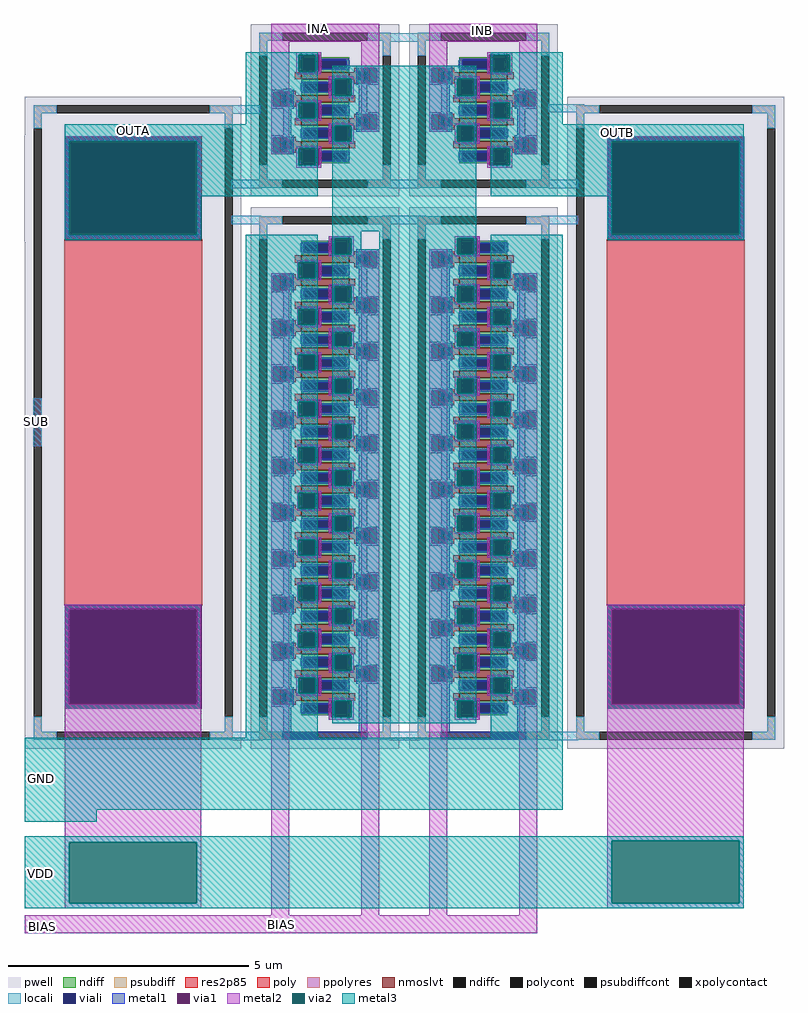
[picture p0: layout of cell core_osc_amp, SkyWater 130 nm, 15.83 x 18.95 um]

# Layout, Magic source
magic
tech sky130A
magscale 1 2
<< pwell >>
rect 4320 3755 4385 3760
rect 2396 3114 2534 3552
rect 4195 1515 4300 1600
rect 4405 1400 4510 1410
rect 4205 1315 4295 1400
rect 4180 1120 4190 1210
<< locali >>
rect 3915 3945 4040 3980
rect 3265 3645 3380 3680
rect 4580 3650 4730 3685
rect 3260 3335 3385 3370
rect 3920 3335 4045 3370
rect 4580 3335 4705 3370
rect 3260 3185 3385 3220
rect 3890 3185 4070 3220
rect 4550 3185 4705 3220
rect 2435 2260 2470 2460
rect 3265 1035 3390 1070
rect 3920 1035 4045 1070
rect 4580 1035 4705 1070
<< metal1 >>
rect 3550 3890 3635 3900
rect 3550 3820 3560 3890
rect 3625 3820 3635 3890
rect 4325 3890 4410 3900
rect 3640 3868 3750 3874
rect 3738 3834 3750 3868
rect 3640 3828 3750 3834
rect 3780 3835 3875 3845
rect 3550 3810 3635 3820
rect 3665 3790 3750 3800
rect 3665 3778 3675 3790
rect 3550 3772 3675 3778
rect 3425 3735 3520 3745
rect 3425 3675 3435 3735
rect 3490 3675 3520 3735
rect 3550 3738 3562 3772
rect 3665 3738 3675 3772
rect 3550 3732 3675 3738
rect 3665 3720 3675 3732
rect 3740 3720 3750 3790
rect 3780 3775 3810 3835
rect 3865 3775 3875 3835
rect 3780 3765 3875 3775
rect 4085 3835 4180 3845
rect 4085 3775 4095 3835
rect 4150 3775 4180 3835
rect 4325 3820 4335 3890
rect 4400 3820 4410 3890
rect 4325 3810 4410 3820
rect 4085 3765 4180 3775
rect 4210 3790 4295 3800
rect 3665 3710 3750 3720
rect 4210 3720 4220 3790
rect 4285 3720 4295 3790
rect 4210 3710 4295 3720
rect 4440 3735 4535 3745
rect 3425 3665 3520 3675
rect 3550 3690 3635 3700
rect 3550 3625 3560 3690
rect 3625 3682 3635 3690
rect 4325 3690 4410 3700
rect 3625 3676 3750 3682
rect 3625 3642 3635 3676
rect 3738 3642 3750 3676
rect 3625 3636 3750 3642
rect 3780 3640 3875 3650
rect 3625 3625 3635 3636
rect 3550 3615 3635 3625
rect 3665 3595 3750 3605
rect 3665 3586 3675 3595
rect 3550 3580 3675 3586
rect 3425 3545 3520 3555
rect 3425 3485 3435 3545
rect 3490 3485 3520 3545
rect 3550 3546 3562 3580
rect 3665 3546 3675 3580
rect 3550 3540 3675 3546
rect 3665 3530 3675 3540
rect 3740 3530 3750 3595
rect 3780 3580 3810 3640
rect 3865 3580 3875 3640
rect 3780 3570 3875 3580
rect 4085 3640 4180 3650
rect 4085 3580 4095 3640
rect 4150 3580 4180 3640
rect 4325 3625 4335 3690
rect 4400 3625 4410 3690
rect 4440 3675 4470 3735
rect 4525 3675 4535 3735
rect 4440 3665 4535 3675
rect 4325 3615 4410 3625
rect 4085 3570 4180 3580
rect 4210 3595 4295 3605
rect 3665 3520 3750 3530
rect 4210 3530 4220 3595
rect 4285 3530 4295 3595
rect 4210 3520 4295 3530
rect 4440 3545 4535 3555
rect 3425 3475 3520 3485
rect 3550 3500 3635 3510
rect 3550 3430 3560 3500
rect 3625 3490 3635 3500
rect 4325 3500 4410 3510
rect 3625 3484 3750 3490
rect 3625 3450 3635 3484
rect 3738 3450 3750 3484
rect 3625 3444 3750 3450
rect 3625 3430 3635 3444
rect 3550 3420 3635 3430
rect 4325 3430 4335 3500
rect 4400 3430 4410 3500
rect 4440 3485 4470 3545
rect 4525 3485 4535 3545
rect 4440 3475 4535 3485
rect 4325 3420 4410 3430
rect 3665 3125 3750 3135
rect 3665 3110 3675 3125
rect 3550 3103 3675 3110
rect 3550 3070 3562 3103
rect 3665 3070 3675 3103
rect 3550 3063 3675 3070
rect 3665 3060 3675 3063
rect 3740 3060 3750 3125
rect 4210 3125 4295 3135
rect 3665 3050 3750 3060
rect 3780 3070 3875 3080
rect 3550 3025 3635 3035
rect 3425 2970 3520 2980
rect 3425 2910 3435 2970
rect 3490 2910 3520 2970
rect 3550 2960 3560 3025
rect 3625 3014 3635 3025
rect 3625 3007 3750 3014
rect 3625 2974 3635 3007
rect 3738 2974 3750 3007
rect 3780 3010 3810 3070
rect 3865 3010 3875 3070
rect 3780 3000 3875 3010
rect 4085 3070 4180 3080
rect 4085 3010 4095 3070
rect 4150 3010 4180 3070
rect 4210 3060 4220 3125
rect 4285 3110 4295 3125
rect 4285 3103 4410 3110
rect 4285 3070 4295 3103
rect 4398 3070 4410 3103
rect 4285 3063 4410 3070
rect 4285 3060 4295 3063
rect 4210 3050 4295 3060
rect 4325 3025 4410 3035
rect 4325 3014 4335 3025
rect 4085 3000 4180 3010
rect 4210 3007 4335 3014
rect 3625 2967 3750 2974
rect 4210 2974 4222 3007
rect 4325 2974 4335 3007
rect 4210 2967 4335 2974
rect 3625 2960 3635 2967
rect 3550 2950 3635 2960
rect 4325 2960 4335 2967
rect 4400 2960 4410 3025
rect 4325 2950 4410 2960
rect 4440 2970 4535 2980
rect 3665 2925 3750 2935
rect 3665 2918 3675 2925
rect 3425 2900 3520 2910
rect 3550 2911 3675 2918
rect 3550 2878 3562 2911
rect 3665 2878 3675 2911
rect 3550 2871 3675 2878
rect 3665 2860 3675 2871
rect 3740 2860 3750 2925
rect 4210 2925 4295 2935
rect 3665 2850 3750 2860
rect 3780 2875 3875 2885
rect 3550 2830 3635 2840
rect 3425 2780 3520 2790
rect 3425 2720 3435 2780
rect 3490 2720 3520 2780
rect 3550 2765 3560 2830
rect 3625 2822 3635 2830
rect 3625 2815 3750 2822
rect 3625 2782 3635 2815
rect 3738 2782 3750 2815
rect 3780 2815 3810 2875
rect 3865 2815 3875 2875
rect 3780 2805 3875 2815
rect 4085 2875 4180 2885
rect 4085 2815 4095 2875
rect 4150 2815 4180 2875
rect 4210 2860 4220 2925
rect 4285 2918 4295 2925
rect 4285 2911 4410 2918
rect 4285 2878 4295 2911
rect 4398 2878 4410 2911
rect 4440 2910 4470 2970
rect 4525 2910 4535 2970
rect 4440 2900 4535 2910
rect 4285 2871 4410 2878
rect 4285 2860 4295 2871
rect 4210 2850 4295 2860
rect 4325 2830 4410 2840
rect 4325 2822 4335 2830
rect 4085 2805 4180 2815
rect 4210 2815 4335 2822
rect 3625 2775 3750 2782
rect 4210 2782 4222 2815
rect 4325 2782 4335 2815
rect 4210 2775 4335 2782
rect 3625 2765 3635 2775
rect 3550 2755 3635 2765
rect 4325 2765 4335 2775
rect 4400 2765 4410 2830
rect 4325 2755 4410 2765
rect 4440 2780 4535 2790
rect 3665 2735 3750 2745
rect 3665 2726 3675 2735
rect 3425 2710 3520 2720
rect 3550 2718 3675 2726
rect 3550 2686 3562 2718
rect 3665 2686 3675 2718
rect 3550 2678 3675 2686
rect 3665 2675 3675 2678
rect 3740 2675 3750 2735
rect 4210 2735 4295 2745
rect 3665 2665 3750 2675
rect 3780 2685 3875 2695
rect 3550 2640 3635 2650
rect 3425 2590 3520 2600
rect 3425 2530 3435 2590
rect 3490 2530 3520 2590
rect 3550 2575 3560 2640
rect 3625 2630 3635 2640
rect 3625 2622 3750 2630
rect 3625 2590 3635 2622
rect 3738 2590 3750 2622
rect 3780 2625 3810 2685
rect 3865 2625 3875 2685
rect 3780 2615 3875 2625
rect 4085 2685 4180 2695
rect 4085 2625 4095 2685
rect 4150 2625 4180 2685
rect 4210 2675 4220 2735
rect 4285 2726 4295 2735
rect 4285 2718 4410 2726
rect 4285 2686 4295 2718
rect 4398 2686 4410 2718
rect 4440 2720 4470 2780
rect 4525 2720 4535 2780
rect 4440 2710 4535 2720
rect 4285 2678 4410 2686
rect 4285 2675 4295 2678
rect 4210 2665 4295 2675
rect 4325 2640 4410 2650
rect 4325 2630 4335 2640
rect 4085 2615 4180 2625
rect 4210 2622 4335 2630
rect 3625 2582 3750 2590
rect 4210 2590 4222 2622
rect 4325 2590 4335 2622
rect 4210 2582 4335 2590
rect 3625 2575 3635 2582
rect 3550 2565 3635 2575
rect 4325 2575 4335 2582
rect 4400 2575 4410 2640
rect 4325 2565 4410 2575
rect 4440 2590 4535 2600
rect 3665 2540 3750 2550
rect 3665 2534 3675 2540
rect 3425 2520 3520 2530
rect 3550 2526 3675 2534
rect 3550 2494 3562 2526
rect 3665 2494 3675 2526
rect 3550 2486 3675 2494
rect 3665 2480 3675 2486
rect 3740 2480 3750 2540
rect 4210 2540 4295 2550
rect 3665 2470 3750 2480
rect 3780 2490 3875 2500
rect 3550 2445 3635 2455
rect 3425 2400 3520 2410
rect 3425 2340 3435 2400
rect 3490 2340 3520 2400
rect 3550 2385 3560 2445
rect 3625 2438 3635 2445
rect 3625 2430 3750 2438
rect 3625 2398 3635 2430
rect 3738 2398 3750 2430
rect 3780 2430 3810 2490
rect 3865 2430 3875 2490
rect 3780 2420 3875 2430
rect 4085 2490 4180 2500
rect 4085 2430 4095 2490
rect 4150 2430 4180 2490
rect 4210 2480 4220 2540
rect 4285 2534 4295 2540
rect 4285 2526 4410 2534
rect 4285 2494 4295 2526
rect 4398 2494 4410 2526
rect 4440 2530 4470 2590
rect 4525 2530 4535 2590
rect 4440 2520 4535 2530
rect 4285 2486 4410 2494
rect 4285 2480 4295 2486
rect 4210 2470 4295 2480
rect 4325 2445 4410 2455
rect 4325 2438 4335 2445
rect 4085 2420 4180 2430
rect 4210 2430 4335 2438
rect 3625 2390 3750 2398
rect 4210 2398 4222 2430
rect 4325 2398 4335 2430
rect 4210 2390 4335 2398
rect 3625 2385 3635 2390
rect 3550 2375 3635 2385
rect 4325 2385 4335 2390
rect 4400 2385 4410 2445
rect 4325 2375 4410 2385
rect 4440 2400 4535 2410
rect 3665 2350 3750 2360
rect 3665 2344 3675 2350
rect 3425 2330 3520 2340
rect 3550 2336 3675 2344
rect 3550 2304 3562 2336
rect 3665 2304 3675 2336
rect 3550 2296 3675 2304
rect 3665 2290 3675 2296
rect 3740 2290 3750 2350
rect 4210 2350 4295 2360
rect 3665 2280 3750 2290
rect 3780 2300 3875 2310
rect 3550 2255 3635 2265
rect 3425 2205 3520 2215
rect 3425 2145 3435 2205
rect 3490 2145 3520 2205
rect 3550 2190 3560 2255
rect 3625 2248 3635 2255
rect 3625 2240 3750 2248
rect 3625 2208 3635 2240
rect 3738 2208 3750 2240
rect 3780 2240 3810 2300
rect 3865 2240 3875 2300
rect 3780 2230 3875 2240
rect 4085 2300 4180 2310
rect 4085 2240 4095 2300
rect 4150 2240 4180 2300
rect 4210 2290 4220 2350
rect 4285 2344 4295 2350
rect 4285 2336 4410 2344
rect 4285 2304 4295 2336
rect 4398 2304 4410 2336
rect 4440 2340 4470 2400
rect 4525 2340 4535 2400
rect 4440 2330 4535 2340
rect 4285 2296 4410 2304
rect 4285 2290 4295 2296
rect 4210 2280 4295 2290
rect 4325 2255 4410 2265
rect 4325 2248 4335 2255
rect 4085 2230 4180 2240
rect 4210 2240 4335 2248
rect 3625 2200 3750 2208
rect 4210 2208 4222 2240
rect 4325 2208 4335 2240
rect 4210 2200 4335 2208
rect 3625 2190 3635 2200
rect 3550 2180 3635 2190
rect 4325 2190 4335 2200
rect 4400 2190 4410 2255
rect 4325 2180 4410 2190
rect 4440 2205 4535 2215
rect 3665 2160 3750 2170
rect 3665 2152 3675 2160
rect 3425 2135 3520 2145
rect 3550 2144 3675 2152
rect 3550 2112 3562 2144
rect 3665 2112 3675 2144
rect 3550 2104 3675 2112
rect 3665 2095 3675 2104
rect 3740 2095 3750 2160
rect 4210 2160 4295 2170
rect 3665 2085 3750 2095
rect 3780 2110 3875 2120
rect 3550 2065 3635 2075
rect 3425 2015 3520 2025
rect 3425 1955 3435 2015
rect 3490 1955 3520 2015
rect 3550 2000 3560 2065
rect 3625 2056 3635 2065
rect 3625 2048 3750 2056
rect 3625 2016 3635 2048
rect 3738 2016 3750 2048
rect 3780 2050 3810 2110
rect 3865 2050 3875 2110
rect 3780 2040 3875 2050
rect 4085 2110 4180 2120
rect 4085 2050 4095 2110
rect 4150 2050 4180 2110
rect 4210 2095 4220 2160
rect 4285 2152 4295 2160
rect 4285 2144 4410 2152
rect 4285 2112 4295 2144
rect 4398 2112 4410 2144
rect 4440 2145 4470 2205
rect 4525 2145 4535 2205
rect 4440 2135 4535 2145
rect 4285 2104 4410 2112
rect 4285 2095 4295 2104
rect 4210 2085 4295 2095
rect 4325 2065 4410 2075
rect 4325 2056 4335 2065
rect 4085 2040 4180 2050
rect 4210 2048 4335 2056
rect 3625 2008 3750 2016
rect 4210 2016 4222 2048
rect 4325 2016 4335 2048
rect 4210 2008 4335 2016
rect 3625 2000 3635 2008
rect 3550 1990 3635 2000
rect 4325 2000 4335 2008
rect 4400 2000 4410 2065
rect 4325 1990 4410 2000
rect 4440 2015 4535 2025
rect 3665 1970 3750 1980
rect 3665 1959 3675 1970
rect 3425 1945 3520 1955
rect 3550 1952 3675 1959
rect 3550 1919 3562 1952
rect 3665 1919 3675 1952
rect 3550 1912 3675 1919
rect 3665 1905 3675 1912
rect 3740 1905 3750 1970
rect 4210 1970 4295 1980
rect 3665 1895 3750 1905
rect 3780 1915 3875 1925
rect 3550 1870 3635 1880
rect 3425 1820 3520 1830
rect 3425 1760 3435 1820
rect 3490 1760 3520 1820
rect 3550 1805 3560 1870
rect 3625 1863 3635 1870
rect 3625 1856 3750 1863
rect 3625 1823 3635 1856
rect 3738 1823 3750 1856
rect 3780 1855 3810 1915
rect 3865 1855 3875 1915
rect 3780 1845 3875 1855
rect 4085 1915 4180 1925
rect 4085 1855 4095 1915
rect 4150 1855 4180 1915
rect 4210 1905 4220 1970
rect 4285 1959 4295 1970
rect 4285 1952 4410 1959
rect 4285 1919 4295 1952
rect 4398 1919 4410 1952
rect 4440 1955 4470 2015
rect 4525 1955 4535 2015
rect 4440 1945 4535 1955
rect 4285 1912 4410 1919
rect 4285 1905 4295 1912
rect 4210 1895 4295 1905
rect 4325 1870 4410 1880
rect 4325 1863 4335 1870
rect 4085 1845 4180 1855
rect 4210 1856 4335 1863
rect 3625 1816 3750 1823
rect 4210 1823 4222 1856
rect 4325 1823 4335 1856
rect 4210 1816 4335 1823
rect 3625 1805 3635 1816
rect 3550 1795 3635 1805
rect 4325 1805 4335 1816
rect 4400 1805 4410 1870
rect 4325 1795 4410 1805
rect 4440 1820 4535 1830
rect 3665 1775 3750 1785
rect 3665 1767 3675 1775
rect 3425 1750 3520 1760
rect 3550 1760 3675 1767
rect 3550 1727 3562 1760
rect 3665 1727 3675 1760
rect 3550 1720 3675 1727
rect 3665 1710 3675 1720
rect 3740 1710 3750 1775
rect 4210 1775 4295 1785
rect 3665 1700 3750 1710
rect 3780 1725 3875 1735
rect 3550 1680 3635 1690
rect 3425 1630 3520 1640
rect 2565 1580 3135 1600
rect 2565 1185 2585 1580
rect 3115 1185 3135 1580
rect 3425 1570 3435 1630
rect 3490 1570 3520 1630
rect 3550 1615 3560 1680
rect 3625 1671 3635 1680
rect 3625 1664 3750 1671
rect 3625 1631 3635 1664
rect 3738 1631 3750 1664
rect 3780 1665 3810 1725
rect 3865 1665 3875 1725
rect 3780 1655 3875 1665
rect 4085 1725 4180 1735
rect 4085 1665 4095 1725
rect 4150 1665 4180 1725
rect 4210 1710 4220 1775
rect 4285 1767 4295 1775
rect 4285 1760 4410 1767
rect 4285 1727 4295 1760
rect 4398 1727 4410 1760
rect 4440 1760 4470 1820
rect 4525 1760 4535 1820
rect 4440 1750 4535 1760
rect 4285 1720 4410 1727
rect 4285 1710 4295 1720
rect 4210 1700 4295 1710
rect 4325 1680 4410 1690
rect 4325 1671 4335 1680
rect 4085 1655 4180 1665
rect 4210 1664 4335 1671
rect 3625 1624 3750 1631
rect 4210 1631 4222 1664
rect 4325 1631 4335 1664
rect 4210 1624 4335 1631
rect 3625 1615 3635 1624
rect 3550 1605 3635 1615
rect 4325 1615 4335 1624
rect 4400 1615 4410 1680
rect 4325 1605 4410 1615
rect 4440 1630 4535 1640
rect 3665 1585 3750 1595
rect 3665 1574 3675 1585
rect 3425 1560 3520 1570
rect 3550 1568 3675 1574
rect 3550 1534 3562 1568
rect 3665 1534 3675 1568
rect 3550 1528 3675 1534
rect 3665 1520 3675 1528
rect 3740 1520 3750 1585
rect 4210 1585 4295 1595
rect 3665 1510 3750 1520
rect 3780 1530 3875 1540
rect 3550 1485 3635 1500
rect 3425 1435 3520 1445
rect 3425 1375 3435 1435
rect 3490 1375 3520 1435
rect 3550 1420 3560 1485
rect 3625 1478 3635 1485
rect 3625 1472 3750 1478
rect 3625 1438 3635 1472
rect 3738 1438 3750 1472
rect 3780 1470 3810 1530
rect 3865 1470 3875 1530
rect 3780 1460 3875 1470
rect 4085 1530 4180 1540
rect 4085 1470 4095 1530
rect 4150 1470 4180 1530
rect 4210 1520 4220 1585
rect 4285 1574 4295 1585
rect 4285 1568 4410 1574
rect 4285 1534 4295 1568
rect 4398 1534 4410 1568
rect 4440 1570 4470 1630
rect 4525 1570 4535 1630
rect 4440 1560 4535 1570
rect 4825 1580 5395 1600
rect 4285 1528 4410 1534
rect 4285 1520 4295 1528
rect 4210 1510 4295 1520
rect 4325 1485 4410 1500
rect 4325 1478 4335 1485
rect 4085 1460 4180 1470
rect 4210 1472 4335 1478
rect 3625 1432 3750 1438
rect 4210 1438 4222 1472
rect 4325 1438 4335 1472
rect 4210 1432 4335 1438
rect 3625 1420 3635 1432
rect 3550 1410 3635 1420
rect 4325 1420 4335 1432
rect 4400 1420 4410 1485
rect 4325 1410 4410 1420
rect 4440 1435 4535 1445
rect 3665 1390 3750 1400
rect 3665 1382 3675 1390
rect 3425 1365 3520 1375
rect 3550 1376 3675 1382
rect 3550 1342 3562 1376
rect 3665 1342 3675 1376
rect 3550 1336 3675 1342
rect 3665 1325 3675 1336
rect 3740 1325 3750 1390
rect 4210 1390 4295 1400
rect 3665 1315 3750 1325
rect 3780 1340 3875 1350
rect 3550 1295 3635 1305
rect 2565 1165 3135 1185
rect 3425 1245 3520 1255
rect 3425 1185 3435 1245
rect 3490 1185 3520 1245
rect 3550 1230 3560 1295
rect 3625 1286 3635 1295
rect 3625 1280 3750 1286
rect 3625 1246 3635 1280
rect 3738 1246 3750 1280
rect 3780 1280 3810 1340
rect 3865 1280 3875 1340
rect 3780 1270 3875 1280
rect 4085 1340 4180 1350
rect 4085 1280 4095 1340
rect 4150 1280 4180 1340
rect 4210 1325 4220 1390
rect 4285 1382 4295 1390
rect 4285 1376 4410 1382
rect 4285 1342 4295 1376
rect 4398 1342 4410 1376
rect 4440 1375 4470 1435
rect 4525 1375 4535 1435
rect 4440 1365 4535 1375
rect 4285 1336 4410 1342
rect 4285 1325 4295 1336
rect 4210 1315 4295 1325
rect 4325 1295 4410 1305
rect 4325 1286 4335 1295
rect 4085 1270 4180 1280
rect 4210 1280 4335 1286
rect 3625 1240 3750 1246
rect 4210 1246 4222 1280
rect 4325 1246 4335 1280
rect 4210 1240 4335 1246
rect 3625 1230 3635 1240
rect 3550 1220 3635 1230
rect 4325 1230 4335 1240
rect 4400 1230 4410 1295
rect 4325 1220 4410 1230
rect 4440 1245 4535 1255
rect 3665 1200 3750 1210
rect 3665 1190 3675 1200
rect 3425 1175 3520 1185
rect 3550 1184 3675 1190
rect 3550 1150 3562 1184
rect 3665 1150 3675 1184
rect 3550 1144 3675 1150
rect 3665 1130 3675 1144
rect 3740 1130 3750 1200
rect 3665 1120 3750 1130
rect 4210 1200 4295 1210
rect 4210 1130 4220 1200
rect 4285 1190 4295 1200
rect 4285 1184 4410 1190
rect 4285 1150 4295 1184
rect 4398 1150 4410 1184
rect 4440 1185 4470 1245
rect 4525 1185 4535 1245
rect 4440 1175 4535 1185
rect 4825 1185 4845 1580
rect 5375 1185 5395 1580
rect 4825 1165 5395 1185
rect 4285 1144 4410 1150
rect 4285 1130 4295 1144
rect 4210 1120 4295 1130
<< via1 >>
rect 3560 3820 3625 3890
rect 3435 3675 3490 3735
rect 3675 3720 3740 3790
rect 3810 3775 3865 3835
rect 4095 3775 4150 3835
rect 4335 3820 4400 3890
rect 4220 3720 4285 3790
rect 3560 3625 3625 3690
rect 2585 3140 3115 3530
rect 3435 3485 3490 3545
rect 3675 3530 3740 3595
rect 3810 3580 3865 3640
rect 4095 3580 4150 3640
rect 4335 3625 4400 3690
rect 4470 3675 4525 3735
rect 4220 3530 4285 3595
rect 3560 3430 3625 3500
rect 4335 3430 4400 3500
rect 4470 3485 4525 3545
rect 4845 3140 5375 3530
rect 3675 3060 3740 3125
rect 3435 2910 3490 2970
rect 3560 2960 3625 3025
rect 3810 3010 3865 3070
rect 4095 3010 4150 3070
rect 4220 3060 4285 3125
rect 4335 2960 4400 3025
rect 3675 2860 3740 2925
rect 3435 2720 3490 2780
rect 3560 2765 3625 2830
rect 3810 2815 3865 2875
rect 4095 2815 4150 2875
rect 4220 2860 4285 2925
rect 4470 2910 4525 2970
rect 4335 2765 4400 2830
rect 3675 2675 3740 2735
rect 3435 2530 3490 2590
rect 3560 2575 3625 2640
rect 3810 2625 3865 2685
rect 4095 2625 4150 2685
rect 4220 2675 4285 2735
rect 4470 2720 4525 2780
rect 4335 2575 4400 2640
rect 3675 2480 3740 2540
rect 3435 2340 3490 2400
rect 3560 2385 3625 2445
rect 3810 2430 3865 2490
rect 4095 2430 4150 2490
rect 4220 2480 4285 2540
rect 4470 2530 4525 2590
rect 4335 2385 4400 2445
rect 3675 2290 3740 2350
rect 3435 2145 3490 2205
rect 3560 2190 3625 2255
rect 3810 2240 3865 2300
rect 4095 2240 4150 2300
rect 4220 2290 4285 2350
rect 4470 2340 4525 2400
rect 4335 2190 4400 2255
rect 3675 2095 3740 2160
rect 3435 1955 3490 2015
rect 3560 2000 3625 2065
rect 3810 2050 3865 2110
rect 4095 2050 4150 2110
rect 4220 2095 4285 2160
rect 4470 2145 4525 2205
rect 4335 2000 4400 2065
rect 3675 1905 3740 1970
rect 3435 1760 3490 1820
rect 3560 1805 3625 1870
rect 3810 1855 3865 1915
rect 4095 1855 4150 1915
rect 4220 1905 4285 1970
rect 4470 1955 4525 2015
rect 4335 1805 4400 1870
rect 3675 1710 3740 1775
rect 2585 1185 3115 1580
rect 3435 1570 3490 1630
rect 3560 1615 3625 1680
rect 3810 1665 3865 1725
rect 4095 1665 4150 1725
rect 4220 1710 4285 1775
rect 4470 1760 4525 1820
rect 4335 1615 4400 1680
rect 3675 1520 3740 1585
rect 3435 1375 3490 1435
rect 3560 1420 3625 1485
rect 3810 1470 3865 1530
rect 4095 1470 4150 1530
rect 4220 1520 4285 1585
rect 4470 1570 4525 1630
rect 4335 1420 4400 1485
rect 3675 1325 3740 1390
rect 3435 1185 3490 1245
rect 3560 1230 3625 1295
rect 3810 1280 3865 1340
rect 4095 1280 4150 1340
rect 4220 1325 4285 1390
rect 4470 1375 4525 1435
rect 4335 1230 4400 1295
rect 3675 1130 3740 1200
rect 4220 1130 4285 1200
rect 4470 1185 4525 1245
rect 4845 1185 5375 1580
<< metal2 >>
rect 3425 3945 3875 4020
rect 3425 3735 3500 3945
rect 3530 3890 3635 3900
rect 3530 3820 3540 3890
rect 3625 3820 3635 3890
rect 3530 3810 3635 3820
rect 3800 3835 3875 3945
rect 3425 3675 3435 3735
rect 3490 3675 3500 3735
rect 3665 3790 3770 3800
rect 3665 3720 3675 3790
rect 3760 3720 3770 3790
rect 3665 3710 3770 3720
rect 3800 3775 3810 3835
rect 3865 3775 3875 3835
rect 2565 3530 3135 3550
rect 2565 3140 2585 3530
rect 3115 3140 3135 3530
rect 3425 3545 3500 3675
rect 3530 3690 3635 3700
rect 3530 3625 3540 3690
rect 3625 3625 3635 3690
rect 3530 3615 3635 3625
rect 3800 3640 3875 3775
rect 3425 3485 3435 3545
rect 3490 3485 3500 3545
rect 3665 3595 3770 3605
rect 3665 3530 3675 3595
rect 3760 3530 3770 3595
rect 3800 3580 3810 3640
rect 3865 3580 3875 3640
rect 3800 3570 3875 3580
rect 4085 3945 4535 4020
rect 4085 3835 4160 3945
rect 4085 3775 4095 3835
rect 4150 3775 4160 3835
rect 4325 3890 4430 3900
rect 4325 3820 4335 3890
rect 4420 3820 4430 3890
rect 4325 3810 4430 3820
rect 4085 3640 4160 3775
rect 4190 3790 4295 3800
rect 4190 3720 4200 3790
rect 4285 3720 4295 3790
rect 4190 3710 4295 3720
rect 4460 3735 4535 3945
rect 4085 3580 4095 3640
rect 4150 3580 4160 3640
rect 4325 3690 4430 3700
rect 4325 3625 4335 3690
rect 4420 3625 4430 3690
rect 4325 3615 4430 3625
rect 4460 3675 4470 3735
rect 4525 3675 4535 3735
rect 4085 3570 4160 3580
rect 4190 3595 4295 3605
rect 3665 3520 3770 3530
rect 4190 3530 4200 3595
rect 4285 3530 4295 3595
rect 4190 3520 4295 3530
rect 4460 3545 4535 3675
rect 3425 3475 3500 3485
rect 3530 3500 3635 3510
rect 3530 3430 3540 3500
rect 3625 3430 3635 3500
rect 3530 3420 3635 3430
rect 4325 3500 4430 3510
rect 4325 3430 4335 3500
rect 4420 3430 4430 3500
rect 4460 3485 4470 3545
rect 4525 3485 4535 3545
rect 4460 3475 4535 3485
rect 4825 3530 5395 3550
rect 4325 3420 4430 3430
rect 2565 3120 3135 3140
rect 4825 3140 4845 3530
rect 5375 3140 5395 3530
rect 3665 3125 3770 3135
rect 3665 3060 3675 3125
rect 3760 3060 3770 3125
rect 4190 3125 4295 3135
rect 3665 3050 3770 3060
rect 3800 3070 3875 3080
rect 3535 3025 3635 3035
rect 3425 2970 3500 2980
rect 3425 2910 3435 2970
rect 3490 2910 3500 2970
rect 3535 2960 3540 3025
rect 3625 2960 3635 3025
rect 3535 2950 3635 2960
rect 3800 3010 3810 3070
rect 3865 3010 3875 3070
rect 3425 2780 3500 2910
rect 3665 2925 3770 2935
rect 3665 2860 3675 2925
rect 3760 2860 3770 2925
rect 3665 2850 3770 2860
rect 3800 2875 3875 3010
rect 3425 2720 3435 2780
rect 3490 2720 3500 2780
rect 3535 2830 3635 2840
rect 3535 2765 3540 2830
rect 3625 2765 3635 2830
rect 3535 2755 3635 2765
rect 3800 2815 3810 2875
rect 3865 2815 3875 2875
rect 3425 2590 3500 2720
rect 3665 2735 3770 2750
rect 3665 2675 3675 2735
rect 3760 2675 3770 2735
rect 3665 2665 3770 2675
rect 3800 2685 3875 2815
rect 3425 2530 3435 2590
rect 3490 2530 3500 2590
rect 3535 2640 3635 2650
rect 3535 2575 3540 2640
rect 3625 2575 3635 2640
rect 3535 2565 3635 2575
rect 3800 2625 3810 2685
rect 3865 2625 3875 2685
rect 3425 2400 3500 2530
rect 3665 2540 3770 2550
rect 3665 2480 3675 2540
rect 3760 2480 3770 2540
rect 3665 2470 3770 2480
rect 3800 2490 3875 2625
rect 3425 2340 3435 2400
rect 3490 2340 3500 2400
rect 3535 2445 3635 2455
rect 3535 2385 3540 2445
rect 3625 2385 3635 2445
rect 3535 2375 3635 2385
rect 3800 2430 3810 2490
rect 3865 2430 3875 2490
rect 3425 2205 3500 2340
rect 3665 2350 3770 2365
rect 3665 2290 3675 2350
rect 3760 2290 3770 2350
rect 3665 2280 3770 2290
rect 3800 2300 3875 2430
rect 3425 2145 3435 2205
rect 3490 2145 3500 2205
rect 3535 2255 3635 2265
rect 3535 2190 3540 2255
rect 3625 2190 3635 2255
rect 3535 2180 3635 2190
rect 3800 2240 3810 2300
rect 3865 2240 3875 2300
rect 3425 2015 3500 2145
rect 3665 2160 3770 2170
rect 3665 2095 3675 2160
rect 3760 2095 3770 2160
rect 3665 2085 3770 2095
rect 3800 2110 3875 2240
rect 3425 1955 3435 2015
rect 3490 1955 3500 2015
rect 3535 2065 3635 2075
rect 3535 2000 3540 2065
rect 3625 2000 3635 2065
rect 3535 1990 3635 2000
rect 3800 2050 3810 2110
rect 3865 2050 3875 2110
rect 3425 1820 3500 1955
rect 3665 1970 3770 1980
rect 3665 1905 3675 1970
rect 3760 1905 3770 1970
rect 3665 1895 3770 1905
rect 3800 1915 3875 2050
rect 3425 1760 3435 1820
rect 3490 1760 3500 1820
rect 3535 1870 3635 1880
rect 3535 1805 3540 1870
rect 3625 1805 3635 1870
rect 3535 1795 3635 1805
rect 3800 1855 3810 1915
rect 3865 1855 3875 1915
rect 3425 1630 3500 1760
rect 3665 1775 3770 1785
rect 3665 1710 3675 1775
rect 3760 1710 3770 1775
rect 3665 1700 3770 1710
rect 3800 1725 3875 1855
rect 2565 1580 3135 1600
rect 2565 1185 2585 1580
rect 3115 1185 3135 1580
rect 2565 610 3135 1185
rect 2565 355 2585 610
rect 3115 355 3135 610
rect 2565 335 3135 355
rect 3425 1570 3435 1630
rect 3490 1570 3500 1630
rect 3535 1680 3635 1690
rect 3535 1615 3540 1680
rect 3625 1615 3635 1680
rect 3535 1605 3635 1615
rect 3800 1665 3810 1725
rect 3865 1665 3875 1725
rect 3425 1435 3500 1570
rect 3665 1585 3770 1595
rect 3665 1520 3675 1585
rect 3760 1520 3770 1585
rect 3665 1510 3770 1520
rect 3800 1530 3875 1665
rect 3425 1375 3435 1435
rect 3490 1375 3500 1435
rect 3535 1485 3635 1495
rect 3535 1420 3540 1485
rect 3625 1420 3635 1485
rect 3535 1410 3635 1420
rect 3800 1470 3810 1530
rect 3865 1470 3875 1530
rect 3425 1245 3500 1375
rect 3665 1390 3770 1400
rect 3665 1325 3675 1390
rect 3760 1325 3770 1390
rect 3665 1315 3770 1325
rect 3800 1340 3875 1470
rect 3425 1185 3435 1245
rect 3490 1185 3500 1245
rect 3530 1295 3635 1305
rect 3530 1230 3540 1295
rect 3625 1230 3635 1295
rect 3530 1220 3635 1230
rect 3800 1280 3810 1340
rect 3865 1280 3875 1340
rect 3425 305 3500 1185
rect 3665 1200 3770 1210
rect 3665 1130 3675 1200
rect 3760 1130 3770 1200
rect 3665 1120 3770 1130
rect 3800 305 3875 1280
rect 4085 3070 4160 3080
rect 4085 3010 4095 3070
rect 4150 3010 4160 3070
rect 4190 3060 4200 3125
rect 4285 3060 4295 3125
rect 4825 3120 5395 3140
rect 4190 3050 4295 3060
rect 4085 2875 4160 3010
rect 4325 3025 4425 3035
rect 4325 2960 4335 3025
rect 4420 2960 4425 3025
rect 4325 2950 4425 2960
rect 4460 2970 4535 2980
rect 4085 2815 4095 2875
rect 4150 2815 4160 2875
rect 4190 2925 4295 2935
rect 4190 2860 4200 2925
rect 4285 2860 4295 2925
rect 4190 2850 4295 2860
rect 4460 2910 4470 2970
rect 4525 2910 4535 2970
rect 4085 2685 4160 2815
rect 4325 2830 4425 2840
rect 4325 2765 4335 2830
rect 4420 2765 4425 2830
rect 4325 2755 4425 2765
rect 4460 2780 4535 2910
rect 4085 2625 4095 2685
rect 4150 2625 4160 2685
rect 4190 2735 4295 2750
rect 4190 2675 4200 2735
rect 4285 2675 4295 2735
rect 4190 2665 4295 2675
rect 4460 2720 4470 2780
rect 4525 2720 4535 2780
rect 4085 2490 4160 2625
rect 4325 2640 4425 2650
rect 4325 2575 4335 2640
rect 4420 2575 4425 2640
rect 4325 2565 4425 2575
rect 4460 2590 4535 2720
rect 4085 2430 4095 2490
rect 4150 2430 4160 2490
rect 4190 2540 4295 2550
rect 4190 2480 4200 2540
rect 4285 2480 4295 2540
rect 4190 2470 4295 2480
rect 4460 2530 4470 2590
rect 4525 2530 4535 2590
rect 4085 2300 4160 2430
rect 4325 2445 4425 2455
rect 4325 2385 4335 2445
rect 4420 2385 4425 2445
rect 4325 2375 4425 2385
rect 4460 2400 4535 2530
rect 4085 2240 4095 2300
rect 4150 2240 4160 2300
rect 4190 2350 4295 2365
rect 4190 2290 4200 2350
rect 4285 2290 4295 2350
rect 4190 2280 4295 2290
rect 4460 2340 4470 2400
rect 4525 2340 4535 2400
rect 4085 2110 4160 2240
rect 4325 2255 4425 2265
rect 4325 2190 4335 2255
rect 4420 2190 4425 2255
rect 4325 2180 4425 2190
rect 4460 2205 4535 2340
rect 4085 2050 4095 2110
rect 4150 2050 4160 2110
rect 4190 2160 4295 2170
rect 4190 2095 4200 2160
rect 4285 2095 4295 2160
rect 4190 2085 4295 2095
rect 4460 2145 4470 2205
rect 4525 2145 4535 2205
rect 4085 1915 4160 2050
rect 4325 2065 4425 2075
rect 4325 2000 4335 2065
rect 4420 2000 4425 2065
rect 4325 1990 4425 2000
rect 4460 2015 4535 2145
rect 4085 1855 4095 1915
rect 4150 1855 4160 1915
rect 4190 1970 4295 1980
rect 4190 1905 4200 1970
rect 4285 1905 4295 1970
rect 4190 1895 4295 1905
rect 4460 1955 4470 2015
rect 4525 1955 4535 2015
rect 4085 1725 4160 1855
rect 4325 1870 4425 1880
rect 4325 1805 4335 1870
rect 4420 1805 4425 1870
rect 4325 1795 4425 1805
rect 4460 1820 4535 1955
rect 4085 1665 4095 1725
rect 4150 1665 4160 1725
rect 4190 1775 4295 1785
rect 4190 1710 4200 1775
rect 4285 1710 4295 1775
rect 4190 1700 4295 1710
rect 4460 1760 4470 1820
rect 4525 1760 4535 1820
rect 4085 1530 4160 1665
rect 4325 1680 4425 1690
rect 4325 1615 4335 1680
rect 4420 1615 4425 1680
rect 4325 1605 4425 1615
rect 4460 1630 4535 1760
rect 4085 1470 4095 1530
rect 4150 1470 4160 1530
rect 4190 1585 4295 1595
rect 4190 1520 4200 1585
rect 4285 1520 4295 1585
rect 4190 1510 4295 1520
rect 4460 1570 4470 1630
rect 4525 1570 4535 1630
rect 4085 1340 4160 1470
rect 4325 1485 4425 1495
rect 4325 1420 4335 1485
rect 4420 1420 4425 1485
rect 4325 1410 4425 1420
rect 4460 1435 4535 1570
rect 4085 1280 4095 1340
rect 4150 1280 4160 1340
rect 4190 1390 4295 1400
rect 4190 1325 4200 1390
rect 4285 1325 4295 1390
rect 4190 1315 4295 1325
rect 4460 1375 4470 1435
rect 4525 1375 4535 1435
rect 4085 305 4160 1280
rect 4325 1295 4430 1305
rect 4325 1230 4335 1295
rect 4420 1230 4430 1295
rect 4325 1220 4430 1230
rect 4460 1245 4535 1375
rect 4190 1200 4295 1210
rect 4190 1130 4200 1200
rect 4285 1130 4295 1200
rect 4190 1120 4295 1130
rect 4460 1185 4470 1245
rect 4525 1185 4535 1245
rect 4460 305 4535 1185
rect 4825 1580 5395 1600
rect 4825 1185 4845 1580
rect 5375 1185 5395 1580
rect 4825 615 5395 1185
rect 4825 355 4845 615
rect 5375 355 5395 615
rect 4825 335 5395 355
rect 2400 230 4535 305
<< via2 >>
rect 3540 3820 3560 3890
rect 3560 3820 3610 3890
rect 3690 3720 3740 3790
rect 3740 3720 3760 3790
rect 2585 3140 3115 3530
rect 3540 3625 3560 3690
rect 3560 3625 3610 3690
rect 3690 3530 3740 3595
rect 3740 3530 3760 3595
rect 4350 3820 4400 3890
rect 4400 3820 4420 3890
rect 4200 3720 4220 3790
rect 4220 3720 4270 3790
rect 4350 3625 4400 3690
rect 4400 3625 4420 3690
rect 4200 3530 4220 3595
rect 4220 3530 4270 3595
rect 3540 3430 3560 3500
rect 3560 3430 3610 3500
rect 4350 3430 4400 3500
rect 4400 3430 4420 3500
rect 4845 3140 5375 3530
rect 3690 3060 3740 3125
rect 3740 3060 3760 3125
rect 3540 2960 3560 3025
rect 3560 2960 3610 3025
rect 3690 2860 3740 2925
rect 3740 2860 3760 2925
rect 3540 2765 3560 2830
rect 3560 2765 3610 2830
rect 3690 2675 3740 2735
rect 3740 2675 3760 2735
rect 3540 2575 3560 2640
rect 3560 2575 3610 2640
rect 3690 2480 3740 2540
rect 3740 2480 3760 2540
rect 3540 2385 3560 2445
rect 3560 2385 3610 2445
rect 3690 2290 3740 2350
rect 3740 2290 3760 2350
rect 3540 2190 3560 2255
rect 3560 2190 3610 2255
rect 3690 2095 3740 2160
rect 3740 2095 3760 2160
rect 3540 2000 3560 2065
rect 3560 2000 3610 2065
rect 3690 1905 3740 1970
rect 3740 1905 3760 1970
rect 3540 1805 3560 1870
rect 3560 1805 3610 1870
rect 3690 1710 3740 1775
rect 3740 1710 3760 1775
rect 2585 355 3115 610
rect 3540 1615 3560 1680
rect 3560 1615 3610 1680
rect 3690 1520 3740 1585
rect 3740 1520 3760 1585
rect 3540 1420 3560 1485
rect 3560 1420 3610 1485
rect 3690 1325 3740 1390
rect 3740 1325 3760 1390
rect 3540 1230 3560 1295
rect 3560 1230 3610 1295
rect 3690 1130 3740 1200
rect 3740 1130 3760 1200
rect 4200 3060 4220 3125
rect 4220 3060 4270 3125
rect 4350 2960 4400 3025
rect 4400 2960 4420 3025
rect 4200 2860 4220 2925
rect 4220 2860 4270 2925
rect 4350 2765 4400 2830
rect 4400 2765 4420 2830
rect 4200 2675 4220 2735
rect 4220 2675 4270 2735
rect 4350 2575 4400 2640
rect 4400 2575 4420 2640
rect 4200 2480 4220 2540
rect 4220 2480 4270 2540
rect 4350 2385 4400 2445
rect 4400 2385 4420 2445
rect 4200 2290 4220 2350
rect 4220 2290 4270 2350
rect 4350 2190 4400 2255
rect 4400 2190 4420 2255
rect 4200 2095 4220 2160
rect 4220 2095 4270 2160
rect 4350 2000 4400 2065
rect 4400 2000 4420 2065
rect 4200 1905 4220 1970
rect 4220 1905 4270 1970
rect 4350 1805 4400 1870
rect 4400 1805 4420 1870
rect 4200 1710 4220 1775
rect 4220 1710 4270 1775
rect 4350 1615 4400 1680
rect 4400 1615 4420 1680
rect 4200 1520 4220 1585
rect 4220 1520 4270 1585
rect 4350 1420 4400 1485
rect 4400 1420 4420 1485
rect 4200 1325 4220 1390
rect 4220 1325 4270 1390
rect 4350 1230 4400 1295
rect 4400 1230 4420 1295
rect 4200 1130 4220 1200
rect 4220 1130 4270 1200
rect 4845 355 5375 615
<< metal3 >>
rect 3320 3890 3620 3900
rect 3320 3820 3540 3890
rect 3610 3820 3620 3890
rect 4340 3890 4640 3900
rect 3320 3690 3620 3820
rect 3320 3625 3540 3690
rect 3610 3625 3620 3690
rect 3320 3600 3620 3625
rect 2566 3530 3620 3600
rect 2566 3140 2585 3530
rect 3115 3500 3620 3530
rect 3115 3430 3540 3500
rect 3610 3430 3620 3500
rect 3115 3300 3620 3430
rect 3680 3790 4280 3845
rect 3680 3720 3690 3790
rect 3760 3720 4200 3790
rect 4270 3720 4280 3790
rect 3680 3595 4280 3720
rect 3680 3530 3690 3595
rect 3760 3530 4200 3595
rect 4270 3530 4280 3595
rect 3115 3140 3135 3300
rect 3680 3155 4280 3530
rect 4340 3820 4350 3890
rect 4420 3820 4640 3890
rect 4340 3690 4640 3820
rect 4340 3625 4350 3690
rect 4420 3625 4640 3690
rect 4340 3600 4640 3625
rect 4340 3550 5395 3600
rect 4340 3530 5396 3550
rect 4340 3500 4845 3530
rect 4340 3430 4350 3500
rect 4420 3430 4845 3500
rect 4340 3300 4845 3430
rect 2566 3120 3135 3140
rect 3320 3025 3620 3140
rect 3320 2960 3540 3025
rect 3610 2960 3620 3025
rect 3320 2830 3620 2960
rect 3320 2765 3540 2830
rect 3610 2765 3620 2830
rect 3320 2640 3620 2765
rect 3320 2575 3540 2640
rect 3610 2575 3620 2640
rect 3320 2445 3620 2575
rect 3320 2385 3540 2445
rect 3610 2385 3620 2445
rect 3320 2255 3620 2385
rect 3320 2190 3540 2255
rect 3610 2190 3620 2255
rect 3320 2065 3620 2190
rect 3320 2000 3540 2065
rect 3610 2000 3620 2065
rect 3320 1870 3620 2000
rect 3320 1805 3540 1870
rect 3610 1805 3620 1870
rect 3320 1680 3620 1805
rect 3320 1615 3540 1680
rect 3610 1615 3620 1680
rect 3320 1485 3620 1615
rect 3320 1420 3540 1485
rect 3610 1420 3620 1485
rect 3320 1295 3620 1420
rect 3320 1230 3540 1295
rect 3610 1230 3620 1295
rect 3320 1045 3620 1230
rect 3680 3125 3800 3155
rect 3680 3060 3690 3125
rect 3760 3080 3800 3125
rect 3875 3125 4280 3155
rect 4825 3140 4845 3300
rect 5375 3140 5396 3530
rect 3875 3080 4200 3125
rect 3760 3060 4200 3080
rect 4270 3060 4280 3125
rect 3680 2925 4280 3060
rect 3680 2860 3690 2925
rect 3760 2860 4200 2925
rect 4270 2860 4280 2925
rect 3680 2735 4280 2860
rect 3680 2675 3690 2735
rect 3760 2675 4200 2735
rect 4270 2675 4280 2735
rect 3680 2540 4280 2675
rect 3680 2480 3690 2540
rect 3760 2480 4200 2540
rect 4270 2480 4280 2540
rect 3680 2350 4280 2480
rect 3680 2290 3690 2350
rect 3760 2290 4200 2350
rect 4270 2290 4280 2350
rect 3680 2160 4280 2290
rect 3680 2095 3690 2160
rect 3760 2095 4200 2160
rect 4270 2095 4280 2160
rect 3680 1970 4280 2095
rect 3680 1905 3690 1970
rect 3760 1905 4200 1970
rect 4270 1905 4280 1970
rect 3680 1775 4280 1905
rect 3680 1710 3690 1775
rect 3760 1710 4200 1775
rect 4270 1710 4280 1775
rect 3680 1585 4280 1710
rect 3680 1520 3690 1585
rect 3760 1520 4200 1585
rect 4270 1520 4280 1585
rect 3680 1390 4280 1520
rect 3680 1325 3690 1390
rect 3760 1325 4200 1390
rect 4270 1325 4280 1390
rect 3680 1200 4280 1325
rect 3680 1130 3690 1200
rect 3760 1130 4200 1200
rect 4270 1130 4280 1200
rect 3680 1105 4280 1130
rect 4340 3025 4640 3140
rect 4825 3120 5396 3140
rect 4340 2960 4350 3025
rect 4420 2960 4640 3025
rect 4340 2830 4640 2960
rect 4340 2765 4350 2830
rect 4420 2765 4640 2830
rect 4340 2640 4640 2765
rect 4340 2575 4350 2640
rect 4420 2575 4640 2640
rect 4340 2445 4640 2575
rect 4340 2385 4350 2445
rect 4420 2385 4640 2445
rect 4340 2255 4640 2385
rect 4340 2190 4350 2255
rect 4420 2190 4640 2255
rect 4340 2065 4640 2190
rect 4340 2000 4350 2065
rect 4420 2000 4640 2065
rect 4340 1870 4640 2000
rect 4340 1805 4350 1870
rect 4420 1805 4640 1870
rect 4340 1680 4640 1805
rect 4340 1615 4350 1680
rect 4420 1615 4640 1680
rect 4340 1485 4640 1615
rect 4340 1420 4350 1485
rect 4420 1420 4640 1485
rect 4340 1295 4640 1420
rect 4340 1230 4350 1295
rect 4420 1230 4640 1295
rect 4340 1045 4640 1230
rect 2400 745 4640 1045
rect 2400 695 2700 745
rect 2400 615 5395 635
rect 2400 610 4845 615
rect 2400 355 2585 610
rect 3115 355 4845 610
rect 5375 355 5395 615
rect 2400 335 5395 355
use sky130_fd_pr__nfet_01v8_lvt_YTLFGX  XM1
transform 0 -1 3650 -1 0 2127
box -1127 -310 1127 310
use sky130_fd_pr__nfet_01v8_lvt_HNLS5R  XM2
transform 0 -1 3650 -1 0 3659
box -359 -310 359 310
use sky130_fd_pr__nfet_01v8_lvt_HNLS5R  XM3
transform 0 1 4310 -1 0 3659
box -359 -310 359 310
use sky130_fd_pr__nfet_01v8_lvt_YTLFGX  XM4
transform 0 1 4310 -1 0 2127
box -1127 -310 1127 310
use sky130_fd_pr__res_high_po_2p85_P79JE3  XR16
transform 1 0 2851 0 1 2358
box -451 -1358 451 1358
use sky130_fd_pr__res_high_po_2p85_P79JE3  XR17
transform 1 0 5111 0 1 2358
box -451 -1358 451 1358
<< labels >>
flabel metal2 3622 4000 3622 4000 1 FreeMono 2 0 0 0 INA
flabel metal2 4308 3992 4308 3992 1 FreeMono 2 0 0 0 INB
flabel metal3 2466 480 2466 480 1 FreeMono 2 0 0 0 VDD
flabel metal2 2472 260 2472 260 1 FreeMono 2 0 0 0 BIAS
rlabel metal2 2400 230 2514 304 1 BIAS
rlabel space 2398 336 2496 632 1 VDD
rlabel space 2396 700 2542 1048 1 GND
rlabel space 2430 2258 2468 2466 1 SUB
rlabel metal2 2400 230 4535 305 0 BIAS
rlabel metal3 2400 335 2585 635 0 VDD
rlabel metal3 2400 695 2700 1045 0 GND
rlabel metal2 3425 3945 3875 4020 1 INA
rlabel metal2 4085 3945 4535 4020 1 INB
rlabel locali 2435 2260 2470 2460 1 SUB
rlabel metal3 2566 3552 3136 3598 1 OUTA
rlabel metal3 4340 3530 5395 3600 1 OUTB
<< end >>

# cell sky130_fd_pr__nfet_01v8_lvt_YTLFGX: kit device sky130_fd_pr__nfet_01v8_lvt, w 1.0 l 0.15 m 1 nf 20 diffcov 100 polycov 100 guard 1 glc 1 grc 1 gtc 1 gbc 1 tbcov 100 rlcov 100 topc 1 botc 1 poverlap 0 doverlap 1 lmin 0.15 wmin 0.42 compatible {sky130_fd_pr__nfet_01v8 sky130_fd_pr__nfet_01v8_lvt sky130_fd_bs_flash__special_sonosfet_star sky130_fd_pr__nfet_g5v0d10v5 sky130_fd_pr__nfet_05v0_nvt sky130_fd_pr__nfet_03v3_nvt} full_metal 1 viasrc 100 viadrn 100 viagate 100 viagb 0 viagr 0 viagl 0 viagt 0

# cell sky130_fd_pr__nfet_01v8_lvt_HNLS5R: kit device sky130_fd_pr__nfet_01v8_lvt, w 1.0 l 0.15 m 1 nf 4 diffcov 100 polycov 100 guard 1 glc 1 grc 1 gtc 1 gbc 1 tbcov 100 rlcov 100 topc 1 botc 1 poverlap 0 doverlap 1 lmin 0.15 wmin 0.42 compatible {sky130_fd_pr__nfet_01v8 sky130_fd_pr__nfet_01v8_lvt sky130_fd_bs_flash__special_sonosfet_star sky130_fd_pr__nfet_g5v0d10v5 sky130_fd_pr__nfet_05v0_nvt sky130_fd_pr__nfet_03v3_nvt} full_metal 1 viasrc 100 viadrn 100 viagate 100 viagb 0 viagr 0 viagl 0 viagt 0

# cell sky130_fd_pr__res_high_po_2p85_P79JE3: kit device sky130_fd_pr__res_high_po_2p85, w 2.850 l 7.6 m 1 nx 1 wmin 2.850 lmin 0.50 rho 319.8 val 989.515 dummy 0 dw 0.0 term 194.82 sterm 0.0 caplen 0 guard 1 glc 1 grc 1 gtc 1 gbc 1 compatible {sky130_fd_pr__res_high_po_0p35 sky130_fd_pr__res_high_po_0p69 sky130_fd_pr__res_high_po_1p41 sky130_fd_pr__res_high_po_2p85 sky130_fd_pr__res_high_po_5p73} full_metal 1 wmax 2.850 n_guard 0 hv_guard 0 vias 1 viagb 0 viagt 0 viagl 0 viagr 0
